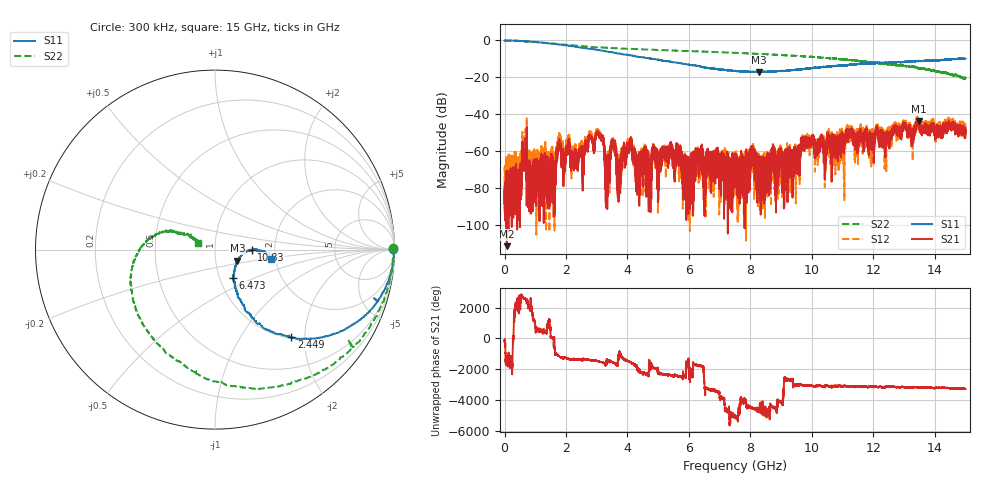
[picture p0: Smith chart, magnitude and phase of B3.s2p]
!Agilent Technologies,N5230C,SG49000117,A.08.50.07
!Agilent N5230C: A.08.50.07
!Date: Monday, December 11, 2023 21:24:06
!Correction: S11(Full 2 Port(1,2))
!S21(Full 2 Port(1,2))
!S12(Full 2 Port(1,2))
!S22(Full 2 Port(1,2))
!S2P File: Measurements: S11, S21, S12, S22:
# Hz S  RI  R 50
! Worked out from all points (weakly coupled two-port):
!   20001 points, 300 kHz to 15 GHz, reference 50 ohm
!   highest |S21| = -43.55 dB at 13.48 GHz (marker M1); lowest = -111.4 dB at 73.05 MHz (marker M2)
!   lowest |S11| = -17.1 dB at 8.269 GHz (marker M3), VSWR 1.32, Z = 63.6 - j8.06 ohm
!   |S11| at or under -10 dB: 4.818601 GHz to 4.820481 GHz (1.88 MHz wide, 0.039 % of centre); 4.827542 GHz to 4.833108 GHz (5.566 MHz wide, 0.115 % of centre); 4.837 GHz to 14.72 GHz (9.883 GHz wide, 101 % of centre) (the widest 3 of 20)
!   |S22| runs from -21.0 to 0.0 dB; largest |S21 - S12| = 0.0041
!   S11 on the Smith chart (normalised r, x): 300 kHz: open; 2.449 GHz: 1.02, -1.72; 6.473 GHz: 1.15, -0.38; 10.83 GHz: 1.51, -0.00; 15 GHz: 1.91, -0.21
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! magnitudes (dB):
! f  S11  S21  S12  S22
! 300 kHz  -0.1  -79.1  -69.8  -0.1
! 73.05 MHz  0.0  -111.4  -66.5  0.0
! 478.8 MHz  -0.2  -75.7  -70.2  -0.3
! 648.3 MHz  -0.4  -64.4  -58.7  -0.4
! 859 MHz  -0.6  -72.3  -70.8  -0.7
! 2.449 GHz  -3.8  -62.3  -58.1  -3.1
! 2.501 GHz  -3.9  -58.9  -55.5  -3.2
! 3.043 GHz  -5.2  -50.4  -49.3  -3.8
! 3.351 GHz  -6.1  -62.7  -62.1  -4.0
! 3.526 GHz  -6.5  -55.4  -54.3  -4.2
! 3.719 GHz  -7.1  -74.2  -72.6  -4.3
! 4.068 GHz  -8.0  -55.7  -59.6  -4.6
! 4.322 GHz  -8.8  -74.3  -65.6  -4.7
! 5 GHz  -10.4  -69.2  -66.0  -5.2
! 6.473 GHz  -14.5  -69.2  -68.9  -6.1
! 7.5 GHz  -16.5  -67.4  -66.5  -6.7
! 8.269 GHz  -17.1  -68.7  -74.2  -7.3
! 10 GHz  -15.0  -55.3  -55.4  -8.9
! 10.83 GHz  -13.8  -57.1  -57.9  -10.0
! 12.5 GHz  -12.0  -53.6  -51.9  -13.0
! 13.48 GHz  -11.2  -43.5  -42.1  -15.1
! 15 GHz  -9.9  -49.7  -46.9  -20.2
